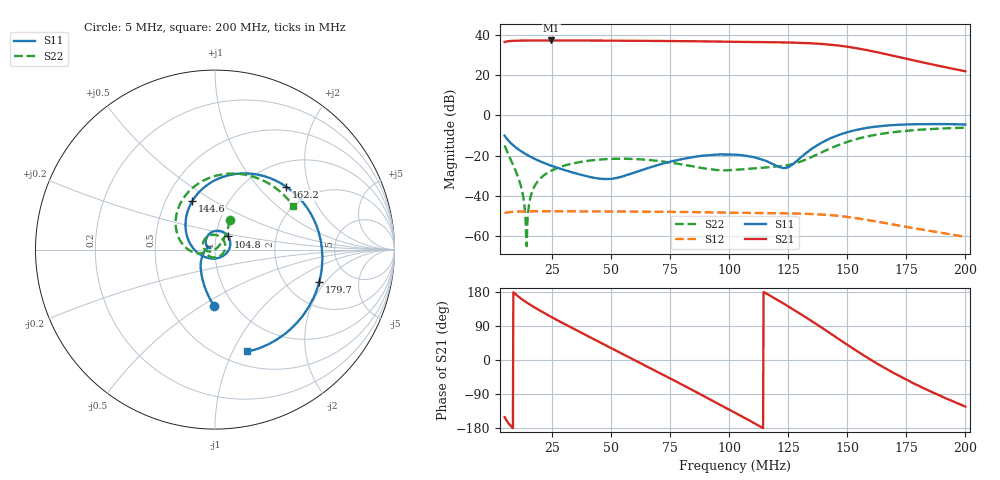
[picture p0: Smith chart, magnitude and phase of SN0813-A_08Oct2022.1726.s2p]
# Hz S DB R 50
! CMT, M5045, 22160017, 22.3.3/2
! Date: 10/8/2022 17:27:05
! Data: Format (Calibration Info)
! Freq	S11:dB/Ang(F2)	S21:dB/Ang(F2)	S12:dB/Ang(F2)	S22:dB/Ang(F2)
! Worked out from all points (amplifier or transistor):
!   1001 points, 5 MHz to 200 MHz, reference 50 ohm
!   highest |S21| = 37.3 dB at 24.7 MHz (marker M1)
!   |S21| within 3 dB of that: start of sweep to 149.4 MHz
!   unconditionally stable (mu >= 1): start of sweep to end of sweep
!   at 37.37 MHz: K = 1.80, MAG = 37.2 dB, |S12| = -47.6 dB
!   at 102.5 MHz: K = 2.04, MAG = 36.6 dB, |S12| = -48.3 dB
!   at 200 MHz: K = 20.61, MAG = 25.0 dB, |S12| = -60.4 dB
!   S11 on the Smith chart (normalised r, x): 5 MHz: 0.81, -0.57; 104.8 MHz: 1.15, +0.17; 144.6 MHz: 0.68, +0.40; 162.2 MHz: 1.48, +1.44; 179.7 MHz: 3.05, -1.72; 200 MHz: 0.65, -1.14
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5000000  -10.05 -90.9  36.48 -150.8  -48.49 -147.9  -14.82 63.5
1.163e7  -17.48 -126.3  37.18 163.6  -47.68 166.5  -34.00 41.2
2.4695e7  -24.94 -173.0  37.26 113.8  -47.60 117.4  -27.48 -167.3
3.7565e7  -29.53 159.3  37.22 71.4  -47.62 76.7  -22.99 160.9
5.453e7  -30.39 165.2  37.13 17.2  -47.70 24.8  -21.47 111.4
6.2135e7  -27.52 161.2  37.08 -7.0  -47.74 1.6  -21.75 86.8
7.013e7  -24.50 147.7  37.02 -32.7  -47.81 -23.0  -22.59 58.8
7.871e7  -21.99 127.0  36.93 -60.4  -47.90 -49.7  -24.04 24.9
8.651e7  -20.34 105.4  36.84 -85.8  -48.03 -74.1  -25.66 -11.6
9.431e7  -19.44 81.1  36.72 -111.6  -48.15 -98.8  -27.04 -53.0
1.025e8  -19.47 53.4  36.58 -139.0  -48.31 -125.3  -26.99 -96.9
1.0484e8  -19.67 44.9  36.55 -146.8  -48.35 -132.8  -26.81 -108.6
1.12445e8  -21.31 12.4  36.45 -172.9  -48.46 -158.1  -26.09 -139.6
1.1966e8  -24.78 -36.6  36.35 161.4  -48.55 177.0  -25.44 -157.3
1.2824e8  -23.01 -144.9  36.15 129.3  -48.71 145.6  -23.68 -163.6
1.35065e8  -16.49 163.5  35.85 102.3  -48.95 119.2  -20.55 -167.2
1.4462e8  -10.49 114.9  34.96 62.8  -49.68 80.2  -15.48 174.7
1.5281e8  -7.44 78.7  33.63 28.8  -50.82 46.7  -12.11 151.2
1.6217e8  -5.53 41.3  31.52 -7.8  -52.61 10.5  -9.56 122.8
1.6763e8  -4.91 21.7  30.13 -27.4  -53.76 -8.9  -8.57 107.0
1.7972e8  -4.32 -17.0  26.95 -66.6  -56.28 -47.7  -7.17 75.1
2e8  -4.50 -72.3  21.94 -123.0  -60.40 -98.0  -6.05 29.4
